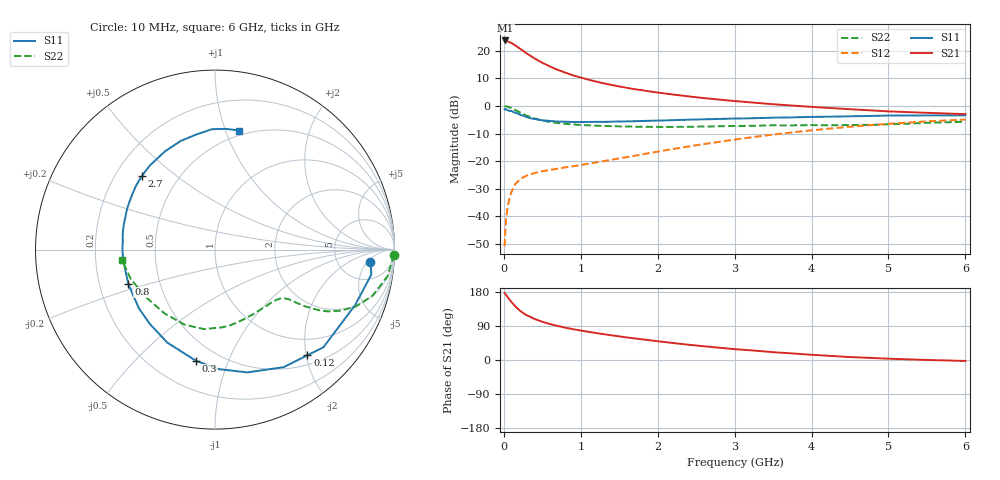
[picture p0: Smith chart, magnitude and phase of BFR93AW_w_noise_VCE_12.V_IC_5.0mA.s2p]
! Infineon Technologies  Discrete & RF Semiconductors
! BFR93AW
! VCE =  12. V,  IC =  5.0 mA
! Common Emitter S-Parameters:  Jan 2017
# GHz  S  MA  R  50
!  f  S11  S21  S12  S22
! GHz  MAG  ANG  MAG  ANG  MAG  ANG  MAG  ANG
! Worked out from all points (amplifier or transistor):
!   77 points, 10 MHz to 6 GHz, reference 50 ohm
!   highest |S21| = 23.7 dB at 20 MHz (marker M1)
!   |S21| within 3 dB of that: start of sweep to 211.1 MHz
!   unconditionally stable (mu >= 1): 1.083 GHz to 2.164 GHz
!   at 130 MHz: K = 0.19, MSG = 25.7 dB, |S12| = -29.2 dB
!   at 2.2 GHz: K = 0.99, MSG = 9.9 dB, |S12| = -15.6 dB
!   at 6 GHz: K = 0.87, MSG = 1.0 dB, |S12| = -4.9 dB
!   lowest NFmin = 1.18 dB at 450 MHz
!   S11 on the Smith chart (normalised r, x): 10 MHz: 11, -6; 120 MHz: 0.67, -2.02; 300 MHz: 0.38, -0.77; 800 MHz: 0.33, -0.17; 2.7 GHz: 0.31, +0.38; 6 GHz: 0.46, +1.12
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0.01  0.8688 -4.5  15.19 176.9  0.0029 79.2  0.9971 -1.7
0.02  0.8822 -9.0  15.35 174.2  0.006 86.0  0.9883 -3.7
0.05  0.8397 -21.6  14.84 165.7  0.015 78.3  0.9724 -8.8
0.06  0.8261 -25.5  14.58 163.2  0.0176 75.5  0.9596 -10.2
0.1  0.813 -42.0  13.81 152.6  0.028 69.6  0.9147 -16.3
0.12  0.7823 -48.8  13.22 148.4  0.0323 65.6  0.8858 -18.5
0.15  0.7586 -59.7  12.47 141.3  0.0389 61.3  0.8451 -22.1
0.2  0.7076 -75.2  11.14 131.8  0.0453 56.1  0.7769 -26.0
0.25  0.6662 -88.3  9.958 124.0  0.0511 51.6  0.7169 -28.7
0.3  0.6289 -99.6  8.873 117.8  0.0551 48.9  0.6651 -30.4
0.4  0.5822 -117.2  7.25 108.1  0.0611 45.7  0.593 -32.2
0.5  0.5512 -131.0  6.048 100.8  0.0659 45.2  0.5447 -33.1
0.6  0.5359 -142.0  5.186 94.8  0.0694 45.7  0.5133 -33.5
0.8  0.5191 -158.4  4.01 85.3  0.0774 49.1  0.4752 -34.9
1.1  0.5146 -175.7  2.995 74.4  0.0902 53.9  0.4466 -38.3
1.5  0.5237 168.0  2.256 62.4  0.1124 60.3  0.4275 -45.3
2.1  0.5483 149.3  1.68 47.2  0.1577 65.1  0.4177 -59.6
2.7  0.5781 134.5  1.346 34.4  0.2142 65.2  0.4267 -76.1
3.1  0.5954 125.5  1.197 27.2  0.2573 63.1  0.4352 -87.0
4.1  0.6368 105.7  0.945 12.6  0.374 53.8  0.4487 -115.4
5.1  0.6713 90.0  0.789 2.8  0.4857 41.0  0.4704 -148.7
6  0.677 78.5  0.712 -2.5  0.5679 28.8  0.5217 -173.5
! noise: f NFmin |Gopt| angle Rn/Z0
0.45  1.18  0.25  77  0.14
0.9  1.5  0.29  137  0.15
1.9  2.75  0.49  -153  0.19
2.4  3.37  0.57  -135  0.38
